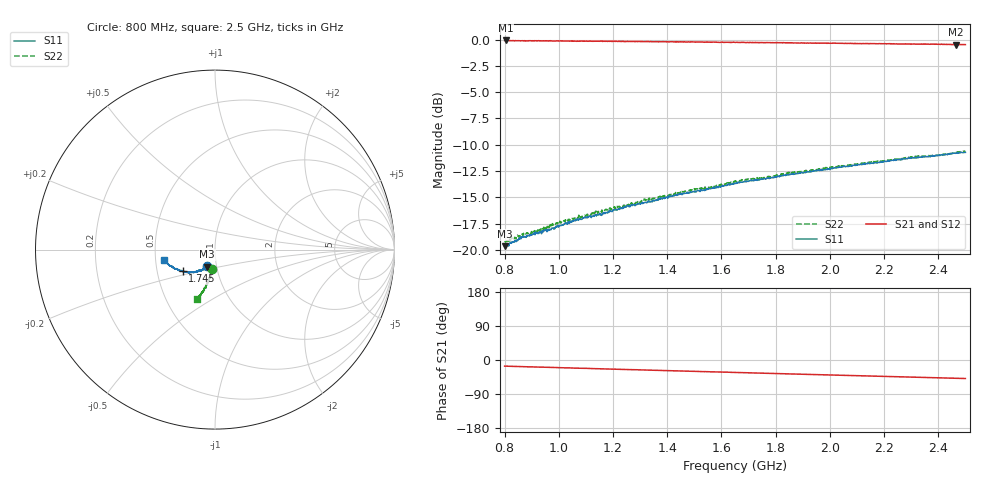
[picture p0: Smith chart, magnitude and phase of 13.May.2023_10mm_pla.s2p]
!Keysight Technologies N9950B: A.12.38
!Date: Saturday, 13 May 2023 13:28:19
!Timezone: (UTC-06:00) Central Time (US & Canada)
!Model: N9950B
!Serial: MY61131330
!GPS Latitude:
!GPS Longitude:
!GPS TimeStamp: 0001-01-01 00:00:00Z
!GPS Seconds Since Last Read: 0
!CHECKSUM:0365447519
!Correction: S11(ON U)S21(ON U)S12(ON U)S22(ON U)
!S2P File: Measurements:S11,S21,S12,S22:
# Hz S DB R 50
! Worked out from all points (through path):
!   1001 points, 800 MHz to 2.5 GHz, reference 50 ohm
!   highest |S21| = -0.08 dB at 803.4 MHz (marker M1); lowest = -0.5 dB at 2.466 GHz (marker M2)
!   group delay of S21, straight-line fit = 53.4 ps
!   lowest |S11| = -19.7 dB at 801.7 MHz (marker M3), VSWR 1.23, Z = 45 - j8.58 ohm
!   |S11| at or under -10 dB: start of sweep to end of sweep
!   |S22| runs from -19.3 to -10.6 dB; largest |S21 - S12| = 0.0057
!   S11 on the Smith chart (normalised r, x): 800 MHz: 0.90, -0.17; 1.745 GHz: 0.68, -0.17; 2.5 GHz: 0.55, -0.07
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8e8  -19.64 -115.6  -0.09 -16.2  -0.09 -16.2  -19.18 -97.7
8.017e8  -19.66 -115.1  -0.09 -16.2  -0.11 -16.2  -19.20 -97.0
8.034e8  -19.57 -114.6  -0.08 -16.2  -0.10 -16.2  -19.27 -97.5
8.663e8  -18.72 -117.2  -0.10 -17.6  -0.12 -17.6  -18.59 -96.8
9.649e8  -18.15 -121.7  -0.11 -19.5  -0.13 -19.4  -17.73 -97.9
9.989e8  -17.84 -121.3  -0.12 -20.1  -0.13 -20.1  -17.43 -98.1
1.0839e9  -17.10 -123.7  -0.13 -21.8  -0.15 -21.9  -16.88 -99.5
1.1383e9  -16.79 -127.5  -0.15 -22.8  -0.16 -22.9  -16.34 -99.9
1.2488e9  -15.94 -130.2  -0.18 -25.1  -0.20 -25.1  -15.82 -100.6
1.3678e9  -15.26 -133.6  -0.21 -27.4  -0.21 -27.3  -15.03 -101.0
1.514e9  -14.37 -138.1  -0.22 -30.3  -0.24 -30.2  -14.09 -102.5
1.582e9  -14.10 -140.6  -0.24 -31.4  -0.26 -31.6  -13.87 -103.4
1.65e9  -13.70 -143.3  -0.27 -32.9  -0.27 -32.8  -13.50 -104.4
1.7452e9  -13.30 -145.9  -0.28 -34.6  -0.29 -34.6  -13.20 -104.2
1.8404e9  -12.82 -148.6  -0.32 -36.4  -0.30 -36.4  -12.72 -105.5
1.9339e9  -12.54 -152.3  -0.34 -38.2  -0.35 -38.3  -12.39 -106.1
2.0478e9  -12.10 -154.4  -0.35 -40.4  -0.37 -40.5  -12.06 -107.1
2.1413e9  -11.76 -158.1  -0.39 -42.2  -0.40 -42.2  -11.70 -107.6
2.2178e9  -11.56 -159.8  -0.40 -43.7  -0.40 -43.6  -11.46 -108.1
2.4082e9  -10.99 -165.4  -0.46 -47.1  -0.46 -47.3  -10.99 -109.5
2.466e9  -10.80 -167.4  -0.48 -48.2  -0.48 -48.3  -10.74 -110.4
2.5e9  -10.73 -168.4  -0.48 -48.9  -0.49 -48.8  -10.63 -110.1
